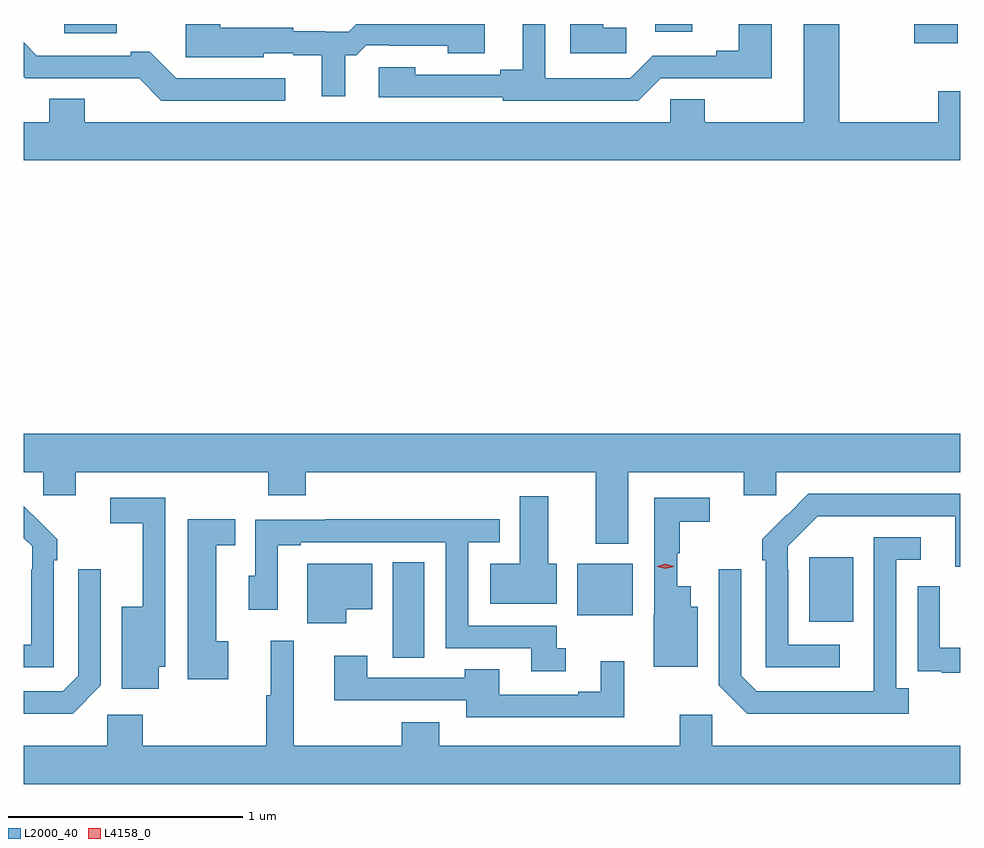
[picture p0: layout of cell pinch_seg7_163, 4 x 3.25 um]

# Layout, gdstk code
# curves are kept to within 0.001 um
import gdstk
lib = gdstk.Library(unit=1e-6, precision=1e-09)
def R(c, l, rs):  # rectangles x0, y0, x1, y1
    for r in rs: c.add(gdstk.rectangle(r[:2], r[2:], *l))
def P(c, l, *ps):  # polygons
    for p in ps: c.add(gdstk.Polygon(p, *l))
L2000_40 = (2000, 40)
L4158_0 = (4158, 0)

pinch_seg7_163 = lib.new_cell('pinch_seg7_163')
R(pinch_seg7_163, L2000_40, [(1132.604,1013.143,1132.738,1013.552), (1134.383,1013.297,1134.571,1013.572), (1133.393,1013.324,1133.629,1013.545), (1134.831,1015.769,1135.018,1015.851), (1131.2,1015.811,1131.424,1015.851), (1133.726,1015.818,1133.884,1015.851)])
P(pinch_seg7_163, L2000_40, [(1135.028,1015.564),(1134.934,1015.564),(1134.934,1015.432),(1134.512,1015.432),(1134.512,1015.851),(1134.359,1015.851),(1134.359,1015.432),(1133.937,1015.432),(1133.937,1015.53),(1133.79,1015.53),(1133.79,1015.432),(1131.289,1015.432),(1131.289,1015.531),(1131.137,1015.531),(1131.137,1015.432),(1131.028,1015.432),(1131.028,1015.268),(1135.028,1015.268)],
  [(1132.402,1015.718),(1132.448,1015.718),(1132.491,1015.761),(1132.591,1015.761),(1132.591,1015.758),(1132.84,1015.758),(1132.84,1015.727),(1132.996,1015.727),(1132.996,1015.851),(1132.449,1015.851),(1132.416,1015.818),(1132.316,1015.818),(1132.316,1015.821),(1132.179,1015.821),(1132.179,1015.834),(1131.867,1015.834),(1131.867,1015.851),(1131.719,1015.851),(1131.719,1015.709),(1132.053,1015.709),(1132.053,1015.725),(1132.179,1015.725),(1132.179,1015.718),(1132.301,1015.718),(1132.301,1015.542),(1132.402,1015.542)],
  [(1133.748,1015.62),(1134.223,1015.619),(1134.223,1015.851),(1134.083,1015.851),(1134.083,1015.736),(1133.987,1015.736),(1133.987,1015.716),(1133.715,1015.716),(1133.619,1015.62),(1133.256,1015.62),(1133.256,1015.851),(1133.159,1015.851),(1133.159,1015.655),(1133.063,1015.655),(1133.063,1015.635),(1132.701,1015.635),(1132.701,1015.666),(1132.545,1015.666),(1132.545,1015.539),(1133.073,1015.539),(1133.073,1015.524),(1133.652,1015.524)],
  [(1133.602,1015.835),(1133.503,1015.835),(1133.503,1015.851),(1133.363,1015.851),(1133.363,1015.726),(1133.602,1015.726)],
  [(1132.144,1015.62),(1131.678,1015.62),(1131.566,1015.732),(1131.485,1015.732),(1131.485,1015.716),(1131.084,1015.716),(1131.028,1015.773),(1131.028,1015.625),(1131.033,1015.62),(1131.521,1015.619),(1131.615,1015.524),(1132.144,1015.524)],
  [(1133.611,1013.936),(1134.104,1013.936),(1134.104,1013.838),(1134.243,1013.838),(1134.243,1013.936),(1135.028,1013.936),(1135.028,1014.1),(1131.028,1014.1),(1131.028,1013.936),(1131.111,1013.936),(1131.111,1013.838),(1131.25,1013.838),(1131.25,1013.936),(1132.072,1013.936),(1132.072,1013.837),(1132.232,1013.837),(1132.232,1013.936),(1133.471,1013.936),(1133.471,1013.631),(1133.611,1013.631)],
  [(1134.514,1013.199),(1134.294,1013.199),(1134.294,1013.519),(1134.291,1013.519),(1134.291,1013.619),(1134.42,1013.748),(1135.007,1013.748),(1135.007,1013.532),(1135.028,1013.532),(1135.028,1013.844),(1134.38,1013.844),(1134.183,1013.649),(1134.183,1013.561),(1134.198,1013.561),(1134.198,1013.103),(1134.514,1013.103)],
  [(1133.305,1013.545),(1133.269,1013.545),(1133.269,1013.833),(1133.147,1013.833),(1133.147,1013.545),(1133.021,1013.545),(1133.021,1013.375),(1133.305,1013.375)],
  [(1131.604,1013.105),(1131.633,1013.105),(1131.633,1013.826),(1131.396,1013.826),(1131.396,1013.718),(1131.536,1013.718),(1131.536,1013.362),(1131.446,1013.362),(1131.446,1013.01),(1131.604,1013.01)],
  [(1133.908,1013.362),(1133.878,1013.362),(1133.878,1013.449),(1133.819,1013.449),(1133.819,1013.589),(1133.83,1013.589),(1133.83,1013.725),(1133.959,1013.725),(1133.959,1013.826),(1133.721,1013.826),(1133.721,1013.328),(1133.72,1013.328),(1133.72,1013.105),(1133.908,1013.105)],
  [(1131.156,1013.561),(1131.171,1013.561),(1131.171,1013.649),(1131.066,1013.754),(1131.065,1013.753),(1131.028,1013.79),(1131.028,1013.654),(1131.063,1013.619),(1131.063,1013.519),(1131.06,1013.519),(1131.06,1013.199),(1131.028,1013.199),(1131.028,1013.103),(1131.156,1013.103)],
  [(1133.344,1013.183),(1133.305,1013.183),(1133.305,1013.28),(1132.926,1013.28),(1132.926,1013.637),(1133.062,1013.637),(1133.062,1013.735),(1132.315,1013.735),(1132.315,1013.733),(1132.017,1013.733),(1132.017,1013.493),(1131.989,1013.493),(1131.989,1013.349),(1132.113,1013.349),(1132.113,1013.625),(1132.21,1013.625),(1132.21,1013.637),(1132.83,1013.637),(1132.83,1013.184),(1133.195,1013.184),(1133.195,1013.085),(1133.344,1013.085)],
  [(1131.901,1013.214),(1131.85,1013.214),(1131.85,1013.625),(1131.932,1013.625),(1131.932,1013.735),(1131.728,1013.735),(1131.728,1013.051),(1131.901,1013.051)],
  [(1134.808,1013.014),(1134.756,1013.014),(1134.756,1013.562),(1134.859,1013.562),(1134.859,1013.658),(1134.66,1013.658),(1134.659,1013.001),(1134.159,1013.001),(1134.093,1013.067),(1134.093,1013.521),(1133.997,1013.521),(1133.997,1013.025),(1134.118,1012.904),(1134.808,1012.904)],
  [(1132.405,1013.351),(1132.516,1013.351),(1132.516,1013.545),(1132.238,1013.545),(1132.238,1013.291),(1132.405,1013.291)],
  [(1131.357,1013.025),(1131.357,1013.521),(1131.261,1013.521),(1131.261,1013.067),(1131.195,1013.001),(1131.028,1013.001),(1131.028,1012.904),(1131.236,1012.904)],
  [(1135.028,1013.187),(1134.942,1013.187),(1134.942,1013.449),(1134.846,1013.449),(1134.846,1013.194),(1134.847,1013.194),(1134.847,1013.085),(1134.949,1013.085),(1134.949,1013.079),(1135.028,1013.079)],
  [(1135.028,1012.768),(1133.97,1012.768),(1133.97,1012.9),(1133.831,1012.9),(1133.831,1012.768),(1132.802,1012.768),(1132.802,1012.867),(1132.642,1012.867),(1132.642,1012.768),(1132.18,1012.768),(1132.18,1013.215),(1132.082,1013.215),(1132.082,1012.983),(1132.063,1012.983),(1132.063,1012.768),(1131.536,1012.768),(1131.536,1012.9),(1131.384,1012.9),(1131.384,1012.768),(1131.028,1012.768),(1131.028,1012.604),(1135.028,1012.604)],
  [(1133.592,1013.128),(1133.492,1013.128),(1133.492,1012.999),(1133.396,1012.999),(1133.396,1012.986),(1133.059,1012.986),(1133.059,1013.095),(1132.912,1013.095),(1132.912,1013.058),(1132.495,1013.058),(1132.495,1013.152),(1132.355,1013.152),(1132.355,1012.962),(1132.919,1012.962),(1132.919,1012.89),(1133.592,1012.89)])
P(pinch_seg7_163, L4158_0, [(1133.769,1013.524),(1133.735,1013.533),(1133.735,1013.534),(1133.735,1013.534),(1133.769,1013.544),(1133.804,1013.534),(1133.804,1013.534),(1133.804,1013.533)])

lib.write_gds('pinch_seg7_163.gds')
